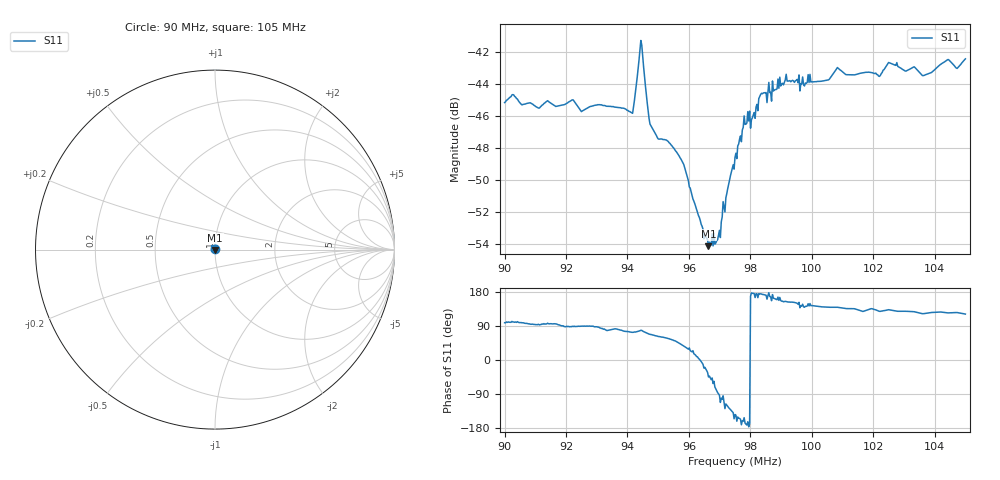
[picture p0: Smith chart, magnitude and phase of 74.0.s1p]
# HZ S RI R 50
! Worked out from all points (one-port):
!   505 points, 90 MHz to 105 MHz, reference 50 ohm
!   lowest |S11| = -54.1 dB at 96.64 MHz (marker M1), VSWR 1.00, Z = 50.1 - j0.139 ohm
!   |S11| at or under -10 dB: start of sweep to end of sweep
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9e7  -0.000808 0.00547
9.026786e7  -0.00104 0.00577
9.107143e7  -0.000297 0.00532
9.187501e7  -4.78e-06 0.00544
9.375001e7  0.000996 0.00524
9.416668e7  0.0015 0.0049
9.443454e7  0.00174 0.00848
9.449406e7  0.00183 0.00752
9.467263e7  0.00184 0.00488
9.476192e7  0.00182 0.00432
9.562502e7  0.00262 0.00281
9.583335e7  0.00284 0.00212
9.663693e7  0.0014 -0.00138
9.696431e7  2.35e-05 -0.00213
9.750002e7  -0.00301 -0.0022
9.779764e7  -0.00445 -0.00234
9.80655e7  -0.00494 0.000349
9.833336e7  -0.00584 0.000557
9.937503e7  -0.00576 0.00299
1.00506e8  -0.00494 0.00424
1.008334e8  -0.00539 0.00466
1.0125e8  -0.00482 0.00474
1.022024e8  -0.00415 0.00524
1.025298e8  -0.00496 0.00544
1.03125e8  -0.00433 0.00548
1.036608e8  -0.00362 0.00568
1.044048e8  -0.00427 0.00619
1.05e8  -0.00393 0.00648
